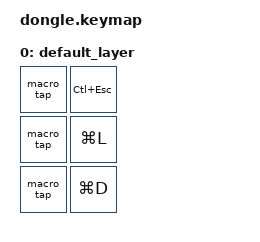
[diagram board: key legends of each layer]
#include <behaviors.dtsi>
#include <dt-bindings/zmk/macro.h>

/ {
    keymap {
        compatible = "zmk,keymap";
        label = "DONGLE_MACROPAD";

        default_layer {
            bindings = <
                &macro_tap &kp LC(ESC)   // Botão 1
                &macro_tap &kp LG(L)     // Botão 2
                &macro_tap &kp LG(D)     // Botão 3
            >;
        };
    };

    macros {
        // Exemplo de macro complexa:
        hello_macro: hello_macro {
            label = "HELLO_MACRO";
            wait-ms = <10>;
            tap-ms = <5>;
            bindings
                = <&macro_press &kp LCTRL>
                , <&macro_tap &kp A>
                , <&macro_release &kp LCTRL>
                , <&macro_tap &kp H &kp E &kp L &kp L &kp O>;
        };
    };
};
